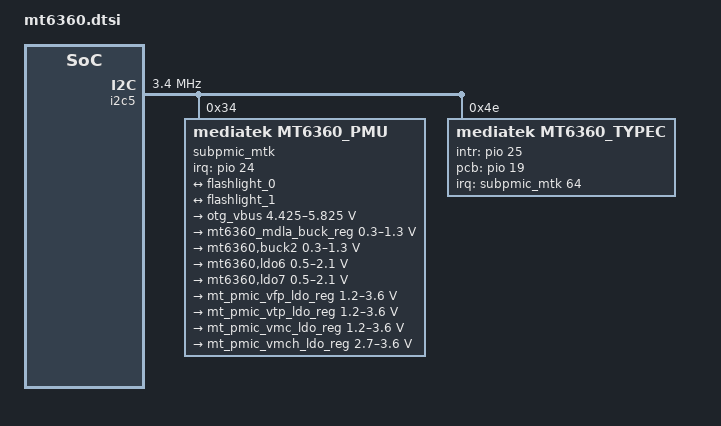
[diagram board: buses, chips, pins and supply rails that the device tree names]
// SPDX-License-Identifier: GPL-2.0
/*
 * Copyright (c) 2021 MediaTek Inc.
*/

&i2c5 {
status = "okay";
	clock-frequency = <3400000>;
	#address-cells = <1>;
	#size-cells = <0>;

    subpmic_mtk: mt6360@34 {
		#interrupt-cells = <2>;
		status = "ok";
		compatible = "mediatek,mt6360_pmu";
		reg = <0x34>;
		wakeup-source;
		interrupt-controller;
		interrupt-parent = <&pio>;
		interrupts = <24 IRQ_TYPE_EDGE_FALLING>;
		interrupt-names = "IRQB";
		mt6360_chg: chg {
			compatible = "mediatek,mt6360_chg";
			vinovp = <14500000>;
			io-channels = <&mt6360_adc 0>, <&mt6360_adc 1>,
				      <&mt6360_adc 3>, <&mt6360_adc 4>,
				      <&mt6360_adc 5>, <&mt6360_adc 6>,
				      <&mt6360_adc 8>, <&mt6360_adc 10>;
			io-channel-names = "USBID", "VBUSDIV5", "VSYS", "VBAT",
					   "IBUS", "IBAT", "TEMP_JC", "TS";
			chg_name = "primary_chg";
			ichg = <2000000>;		/* uA */
			aicr = <500000>;		/* uA */
			mivr = <4400000>;		/* uV */
			cv = <4350000>;			/* uA */
			ieoc = <150000>;		/* uA */
			safety_timer = <12>;		/* hour */
			ircmp_resistor = <25000>;	/* uohm */
			ircmp_vclamp = <32000>;		/* uV */
			en_te = <1>;
			en_wdt = <1>;
			aicc_once = <1>;
			post_aicc = <1>;
			batoc_notify = <0>;
			charger = <&mt6360_chg>;
			phys = <&u2port0 PHY_TYPE_USB2>;
			phy-names = "usb2-phy";
			usb = <&ssusb>;
			bc12_ref = <&mtk_ctd>;
			otg_vbus: usb-otg-vbus {
				regulator-compatible = "usb-otg-vbus";
				regulator-name = "usb-otg-vbus";
				regulator-min-microvolt = <4425000>;
				regulator-max-microvolt = <5825000>;
				regulator-min-microamp = <500000>;
				regulator-max-microamp = <3000000>;
			};
		};
		mt6360_adc: adc {
			compatible = "mediatek,mt6360_adc";
			#io-channel-cells = <1>;
		};
		mt6360_led: led {
			compatible = "mediatek,mt6360_led";
			rgbon_sync = <1>;
			iled  {
				#address-cells = <1>;
				#size-cells = <0>;
				led@0 {
					reg = <0>;
					label = "isink1";
				};
				led@1 {
					reg = <1>;
					label = "isink2";
				};
				led@2 {
					reg = <2>;
					label = "isink3";
				};
				led@3 {
					reg = <3>;
					label = "isink4";
				};
			};
			fled {
				#address-cells = <1>;
				#size-cells = <0>;
				flash@0 {
					reg = <0>;
					label = "mt6360_flash_ch1";
					led-max-microamp = <400000>;
					flash-max-microamp = <1500000>;
					flash-max-timeout = <1248000>;
					type = <0>;
					ct = <0>;
					part = <0>;
					port@0 {
						fl_core_0: endpoint {
							remote-endpoint = <&flashlight_0>;
						};
					};
				};
				flash@1 {
					reg = <1>;
					label = "mt6360_flash_ch2";
					led-max-microamp = <400000>;
					flash-max-microamp = <1500000>;
					flash-max-timeout = <1248000>;
					type = <0>;
					ct = <1>;
					part = <0>;
					port@1 {
						fl_core_1: endpoint {
							remote-endpoint = <&flashlight_1>;
						};
					};
				};
			};
		};
		mt6360_pmic: pmic {
			compatible = "mediatek,mt6360_pmic";
			mt6360_mdla_buck_reg: buck1 {
				regulator-compatible = "BUCK1";
				regulator-name = "mt6360,buck1";
				regulator-min-microvolt = <300000>;
				regulator-max-microvolt = <1300000>;
				regulator-allowed-modes = <0 2 3>;
				regulator-always-on;
			};
			buck2 {
				regulator-compatible = "BUCK2";
				regulator-name = "mt6360,buck2";
				regulator-min-microvolt = <300000>;
				regulator-max-microvolt = <1300000>;
				regulator-allowed-modes = <0 2 3>;
				regulator-always-on;
			};
			ldo6 {
				regulator-compatible = "LDO6";
				regulator-name = "mt6360,ldo6";
				regulator-min-microvolt = <500000>;
				regulator-max-microvolt = <2100000>;
				regulator-allowed-modes = <0 2>;
				regulator-always-on;
			};
			ldo7 {
				regulator-compatible = "LDO7";
				regulator-name = "mt6360,ldo7";
				regulator-min-microvolt = <500000>;
				regulator-max-microvolt = <2100000>;
				regulator-allowed-modes = <0 2>;
				regulator-always-on;
			};
		};
		ldo {
			compatible = "mediatek,mt6360_ldo";
			mt_pmic_vfp_ldo_reg: ldo1 {
				regulator-compatible = "LDO1";
				regulator-name = "mt6360,ldo1";
				regulator-min-microvolt = <1200000>;
				regulator-max-microvolt = <3600000>;
				regulator-allowed-modes = <0 2>;
			};
			mt_pmic_vtp_ldo_reg: ldo2 {
				regulator-compatible = "LDO2";
				regulator-name = "vtp";
				regulator-min-microvolt = <1200000>;
				regulator-max-microvolt = <3600000>;
				regulator-allowed-modes = <0 2>;
			};
			mt_pmic_vmc_ldo_reg: ldo3 {
				regulator-compatible = "LDO3";
				regulator-name = "mt6360,ldo3";
				regulator-min-microvolt = <1200000>;
				regulator-max-microvolt = <3600000>;
				regulator-allowed-modes = <0 2>;
			};
			mt_pmic_vmch_ldo_reg: ldo5 {
				regulator-compatible = "LDO5";
				regulator-name = "mt6360,ldo5";
				regulator-min-microvolt = <2700000>;
				regulator-max-microvolt = <3600000>;
				regulator-allowed-modes = <0 2>;
			};
		};
	};
	mt6360_typec: tcpc@4e {
		compatible = "mediatek,mt6360_typec";
		reg = <0x4e>;
		mt-dual,supported_modes = <0>; /* 0: dfp/ufp, 1: dfp, 2: ufp */
		mt-tcpc,name = "type_c_port0"; /* tcpc_device's name */
		/* 0: SNK Only, 1: SRC Only, 2: DRP, 3: Try.SRC, 4: Try.SNK */
		mt-tcpc,role_def = <4>;
		mt-tcpc,rp_level = <1>; /* 0: Default, 1: 1.5, 2: 3.0 */
		/* 0: Never, 1: Always, 2: EMarkOnly, 3: StartOnly */
		mt-tcpc,vconn_supply  = <1>;
		mt6360pd,intr-gpio = <&pio 25 0x0>;
		mt6360pd,intr-gpio-num = <25>;
		mt6360pd,pcb-gpio = <&pio 19 0x0>;
		mt6360pd,pcb-gpio-num = <19>;
		interrupt-parent = <&subpmic_mtk>;
		interrupts = <64 0>;
		interrupt-names = "usbid_evt";
		charger = <&mt6360_chg>;
		bootmode = <&chosen>;
		switch = <&typec_mux_switch>;
		pd-data {
			pd,vid = <0x29cf>;
			pd,pid = <0x6360>;
			pd,source-cap-ext =
				<0x636029cf 0x00000000 0x00000000
				 0x00000000 0x00000000 0x07000000>;
			pd,mfrs = "RichtekTCPC";

			/*
			 *	VSAFE5V = 0, MAX_POWER = 1, CUSTOM = 2,
			 *	MAX_POWER_LV = 0x21, MAX_POWER_LVIC = 0x31
			 *	MAX_POWER_HV = 0x41, MAX_POWER_HVIC = 0x51
			 */
			pd,charging_policy= <0x31>;

			pd,source-pdo-size = <1>;
			/* 5V, 1500 mA */
			pd,source-pdo-data = <0x00019096>;
			pd,sink-pdo-size = <1>;
			pd,sink-pdo-data = <0x000190c8>;

			/*
			 * No DP, host + device
			 *	pd,id-vdo-size = <6>;
			 *	pd,id-vdo-data = <0xd14029cf 0x0 0x63600000
						 0x41800000 0x0 0x21800000>;
			 * With DP
			 *	pd,id-vdo-size = <6>;
			 *	pd,id-vdo-data = <0xd54029cf 0x0 0x63600000
						 0x41800000 0x0 0x21800000>;
			 */

			pd,id-vdo-size = <6>;
			pd,id-vdo-data = <0xd14029cf 0x0 0x63600000
					  0x41800000 0x0 0x21800000>;

			bat,nr = <1>;
			bat-info0 {
				bat,vid = <0x29cf>;
				bat,pid = <0x6360>;
				bat,mfrs = "bat1";
				bat,design_cap = <3000>;
			};
		};
		dpm_caps {
			local_dr_power;
			local_dr_data;
			// local_ext_power;
			local_usb_comm;
			// local_usb_suspend;
			// local_high_cap;
			// local_give_back;
			local_no_suspend;
			local_vconn_supply;

			// attempt_discover_cable_dfp;
			attempt_enter_dp_mode;
			attempt_discover_cable;
			attempt_discover_id;

			/* 0: disable, 1: prefer_snk, 2: prefer_src */
			pr_check = <0>;
			// pr_reject_as_source;
			// pr_reject_as_sink;
			// pr_check_gp_source;
			// pr_check_gp_sink;

			/* 0: disable, 1: prefer_ufp, 2: prefer_dfp */
			dr_check = <0>;
			// dr_reject_as_dfp;
			// dr_reject_as_ufp;
		};
		displayport {
			/* connection type = "both", "ufp_d", "dfp_d" */
			1st_connection = "dfp_d";
			2nd_connection = "dfp_d";
			signal,dp_v13;
			//signal,dp_gen2;
			//usbr20_not_used;
			typec,receptacle;
			ufp_d {
				//pin_assignment,mode_a;
				//pin_assignment,mode_b;
				//pin_assignment,mode_c;
				//pin_assignment,mode_d;
				//pin_assignment,mode_e;
			};
			dfp_d {
				/* Only support mode C & D */
				//pin_assignment,mode_a;
				//pin_assignment,mode_b;
				pin_assignment,mode_c;
				pin_assignment,mode_d;
				pin_assignment,mode_e;
				//pin_assignment,mode_f;
			};
		};
	};
};
